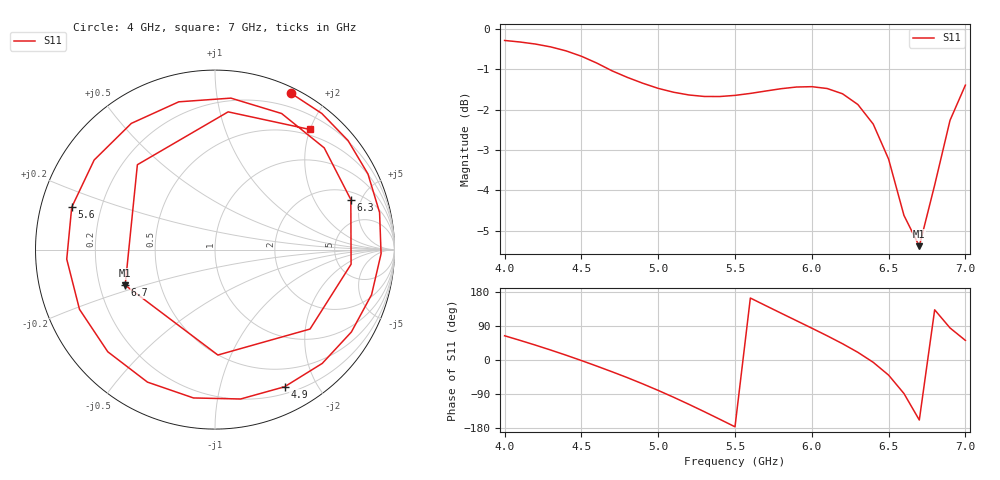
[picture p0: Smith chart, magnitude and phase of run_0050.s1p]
! Touchstone file exported from HFSS 2024.2.0
!  File:  C:/Users/wsak9/Desktop/Sim Fast/Widenad Patch/WP_AI_V1_sweep.aedt
!  Generated:  04:58:41 PM Oct 13, 2026
!  Design:  A1_model
!  Project:  WP_AI_V1_sweep
!  Setup:  Setup1
!  Solution:  Sweep
! Variables:
!  Air_gap = 4.4mm
!  Curve_Amp1 = 0.66
!  Curve_len1 = 1
!  Curve_pos = 9.52mm
!  Extra = 5.98mm
!  H_sub = 0.79mm
!  L_Patch = 15.04mm
!  L_Patch1 = 17.09mm
!  Sx = 3.17mm
!  Sy = 1.69mm
!  WS = 0.64mm
!  W_Patch = 20.14mm
!  W_Patch1 = 11.11mm
!Data is not renormalized
# GHz S MA
! Terminal data exported
! Port[1] = 1
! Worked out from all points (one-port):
!   31 points, 4 GHz to 7 GHz, reference per port
!   lowest |S11| = -5.4 dB at 6.7 GHz (marker M1), VSWR 3.33
!   |S11| at or under -10 dB: nowhere
!   S11 on the Smith chart (normalised r, x): 4 GHz: 0.06, +1.60; 4.9 GHz: 0.28, -1.59; 5.6 GHz: 0.09, +0.14; 6.3 GHz: 2.56, +4.07; 6.7 GHz: 0.31, -0.17; 7 GHz: 0.41, +1.99
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4  0.9683 64.0
4.2  0.9584 39.3
4.4  0.9399 12.7
4.5  0.9256 -1.4
4.6  0.9078 -16.1
4.8  0.8713 -46.7
4.9  0.8569 -63.1
5  0.8445 -80.3
5.1  0.8352 -98.3
5.2  0.8287 -117.0
5.3  0.8252 -136.4
5.4  0.825 -156.2
5.5  0.8278 -176.3
5.6  0.8324 163.5
5.7  0.8381 143.5
5.8  0.8437 123.5
5.9  0.8477 103.8
6  0.8486 84.0
6.1  0.8441 63.9
6.2  0.8316 43.0
6.3  0.8064 20.2
6.4  0.7626 -6.1
6.5  0.6901 -39.9
6.6  0.5876 -88.4
6.7  0.5382 -158.4
6.8  0.6408 132.4
6.9  0.7709 84.6
7  0.8523 51.8
